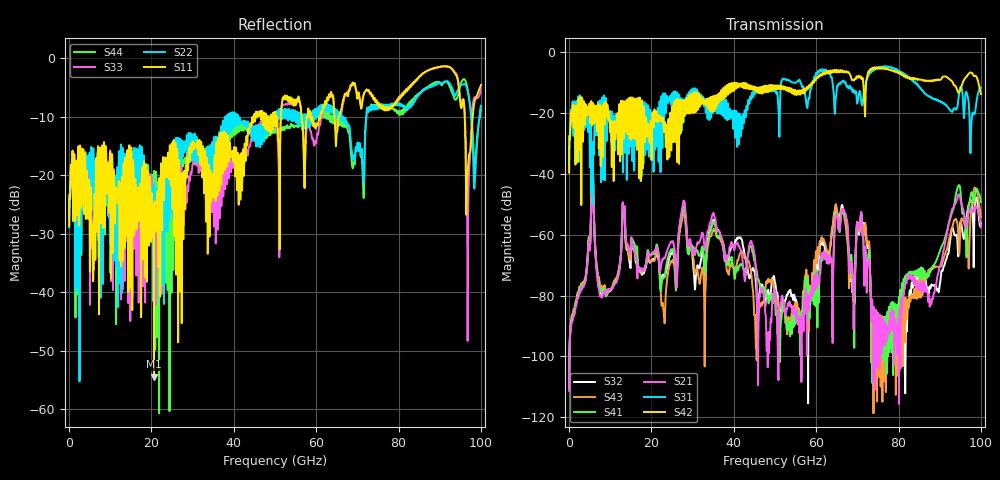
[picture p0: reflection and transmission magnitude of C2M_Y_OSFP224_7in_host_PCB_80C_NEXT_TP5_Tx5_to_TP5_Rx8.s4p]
# GHz S RI R 45
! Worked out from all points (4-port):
!   4000 points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, 25 MHz to 100 GHz, reference 45 ohm
!   strongest paths, dB at 25 MHz, 25.02 GHz, 50.02 GHz, 75.03 GHz, 100 GHz:
!     S42: -39.6, -18.0, -10.8, -4.9, -13.7
!     S31: -38.7, -14.2, -12.1, -5.0, -11.6
!     S21: -111.3, -62.5, -78.1, -92.8, -57.6
!     S41: -110.4, -65.3, -81.9, -96.7, -49.3
!     S43: -109.3, -68.9, -79.3, -85.7, -54.1
!     S32: -110.3, -66.1, -75.8, -91.8, -56.2
!   lowest |S11| = -54.4 dB at 20.62 GHz (marker M1), VSWR 1.00, Z = 45 - j0.169 ohm
!   |S11| at or under -10 dB: start of sweep to 44.52 GHz; 59.09 GHz to 61.04 GHz (1.955 GHz wide, 3.26 % of centre); 96.08 GHz to 98 GHz (1.927 GHz wide, 1.99 % of centre)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
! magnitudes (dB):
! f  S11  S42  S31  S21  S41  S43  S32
! 25 MHz  -28.5  -39.6  -38.7  -111.3  -110.4  -109.3  -110.3
! 5.7 GHz  -30.6  -20.1  -34.2  -40.4  -40.4  -40.4  -40.4
! 7.775 GHz  -26.7  -23.9  -42.7  -80.1  -78.2  -76.8  -79.3
! 20.62 GHz  -54.4  -20.8  -26.0  -65.5  -66.3  -68.7  -67.9
! 66.38 GHz  -7.7  -5.9  -9.6  -51.5  -52.2  -52.1  -50.4
! 79.88 GHz  -7.2  -6.8  -5.8  -88.8  -89.8  -89.3  -89.0
! 100 GHz  -4.6  -13.7  -11.6  -57.6  -49.3  -54.1  -56.2
